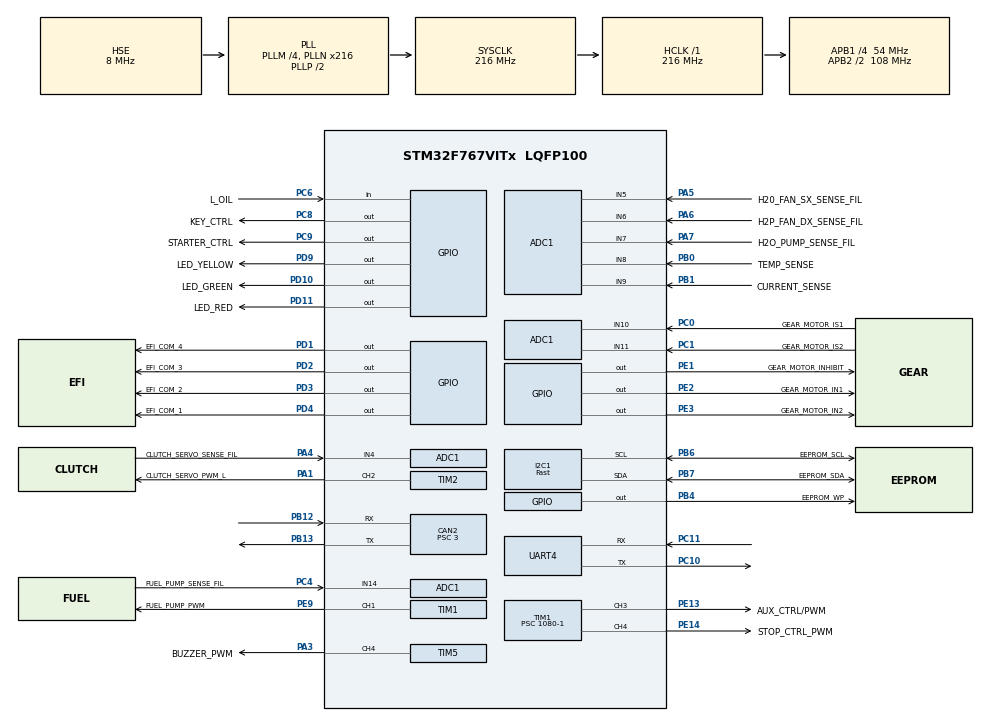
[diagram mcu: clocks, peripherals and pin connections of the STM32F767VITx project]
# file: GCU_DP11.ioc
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ADC1.Channel-10\#ChannelRegularConversion=ADC_CHANNEL_14
ADC1.Channel-2\#ChannelRegularConversion=ADC_CHANNEL_4
ADC1.Channel-3\#ChannelRegularConversion=ADC_CHANNEL_5
ADC1.Channel-4\#ChannelRegularConversion=ADC_CHANNEL_6
ADC1.Channel-5\#ChannelRegularConversion=ADC_CHANNEL_7
ADC1.Channel-6\#ChannelRegularConversion=ADC_CHANNEL_8
ADC1.Channel-7\#ChannelRegularConversion=ADC_CHANNEL_9
ADC1.Channel-8\#ChannelRegularConversion=ADC_CHANNEL_10
ADC1.Channel-9\#ChannelRegularConversion=ADC_CHANNEL_11
ADC1.ClockPrescaler=ADC_CLOCK_SYNC_PCLK_DIV8
ADC1.ContinuousConvMode=DISABLE
ADC1.DMAContinuousRequests=ENABLE
ADC1.EOCSelection=ADC_EOC_SEQ_CONV
ADC1.NbrOfConversion=9
ADC1.NbrOfConversionFlag=1
ADC1.Rank-10\#ChannelRegularConversion=9
ADC1.Rank-2\#ChannelRegularConversion=1
ADC1.Rank-3\#ChannelRegularConversion=2
ADC1.Rank-4\#ChannelRegularConversion=3
ADC1.Rank-5\#ChannelRegularConversion=4
ADC1.Rank-6\#ChannelRegularConversion=5
ADC1.Rank-7\#ChannelRegularConversion=6
ADC1.Rank-8\#ChannelRegularConversion=7
ADC1.Rank-9\#ChannelRegularConversion=8
ADC1.SamplingTime-10\#ChannelRegularConversion=ADC_SAMPLETIME_480CYCLES
ADC1.SamplingTime-2\#ChannelRegularConversion=ADC_SAMPLETIME_480CYCLES
ADC1.SamplingTime-3\#ChannelRegularConversion=ADC_SAMPLETIME_480CYCLES
ADC1.SamplingTime-4\#ChannelRegularConversion=ADC_SAMPLETIME_480CYCLES
ADC1.SamplingTime-5\#ChannelRegularConversion=ADC_SAMPLETIME_480CYCLES
ADC1.SamplingTime-6\#ChannelRegularConversion=ADC_SAMPLETIME_480CYCLES
ADC1.SamplingTime-7\#ChannelRegularConversion=ADC_SAMPLETIME_480CYCLES
ADC1.SamplingTime-8\#ChannelRegularConversion=ADC_SAMPLETIME_480CYCLES
ADC1.SamplingTime-9\#ChannelRegularConversion=ADC_SAMPLETIME_480CYCLES
ADC1.ScanConvMode=ENABLE
ADC1.master=1
CAN2.BS1=CAN_BS1_15TQ
CAN2.BS2=CAN_BS2_2TQ
CAN2.CalculateTimeQuantum=55.55555555555556
CAN2.Prescaler=3
Dma.ADC1.0.Direction=DMA_PERIPH_TO_MEMORY
Dma.ADC1.0.FIFOMode=DMA_FIFOMODE_DISABLE
Dma.ADC1.0.Instance=DMA2_Stream0
Dma.ADC1.0.MemDataAlignment=DMA_MDATAALIGN_WORD
Dma.ADC1.0.MemInc=DMA_MINC_ENABLE
Dma.ADC1.0.Mode=DMA_CIRCULAR
Dma.ADC1.0.PeriphDataAlignment=DMA_PDATAALIGN_WORD
Dma.ADC1.0.PeriphInc=DMA_PINC_DISABLE
Dma.ADC1.0.Priority=DMA_PRIORITY_LOW
Dma.Request0=ADC1
Dma.Request1=UART4_TX
Dma.UART4_TX.1.Direction=DMA_MEMORY_TO_PERIPH
Dma.UART4_TX.1.FIFOMode=DMA_FIFOMODE_DISABLE
Dma.UART4_TX.1.Instance=DMA1_Stream4
Dma.UART4_TX.1.MemDataAlignment=DMA_MDATAALIGN_BYTE
Dma.UART4_TX.1.MemInc=DMA_MINC_ENABLE
Dma.UART4_TX.1.Mode=DMA_NORMAL
Dma.UART4_TX.1.PeriphDataAlignment=DMA_PDATAALIGN_BYTE
Dma.UART4_TX.1.PeriphInc=DMA_PINC_DISABLE
Dma.UART4_TX.1.Priority=DMA_PRIORITY_LOW
I2C1.I2C_Speed_Mode=I2C_Fast
I2C1.Timing=0x6000030D
Mcu.Family=STM32F7
Mcu.Name=STM32F767VITx
Mcu.Package=LQFP100
NVIC.ADC_IRQn=true\:4\:0\:true\:false\:true\:true\:true
NVIC.CAN2_RX0_IRQn=true\:2\:0\:true\:false\:true\:true\:true
NVIC.CAN2_RX1_IRQn=true\:2\:0\:true\:false\:true\:true\:true
NVIC.CAN2_TX_IRQn=true\:1\:0\:true\:false\:true\:true\:true
NVIC.DMA1_Stream4_IRQn=true\:6\:0\:true\:false\:true\:false\:true
NVIC.DMA2_Stream0_IRQn=true\:4\:0\:true\:false\:true\:false\:true
NVIC.I2C1_EV_IRQn=true\:5\:0\:true\:false\:true\:true\:true
NVIC.PriorityGroup=NVIC_PRIORITYGROUP_4
NVIC.TIM6_DAC_IRQn=true\:3\:0\:true\:false\:true\:true\:true
NVIC.UART4_IRQn=true\:6\:0\:true\:false\:true\:true\:true
PA1.GPIO_Label=CLUTCH_SERVO_PWM_L
PA1.Signal=S_TIM2_CH2
PA13.GPIO_Label=SWDIO
PA13.Mode=Trace_Asynchronous_SW
PA13.Signal=SYS_JTMS-SWDIO
PA14.GPIO_Label=SWCLK
PA14.Mode=Trace_Asynchronous_SW
PA14.Signal=SYS_JTCK-SWCLK
PA3.GPIO_Label=BUZZER_PWM
PA3.Signal=S_TIM5_CH4
PA4.GPIO_Label=CLUTCH_SERVO_SENSE_FIL
PA4.Signal=ADCx_IN4
PA5.GPIO_Label=H20_FAN_SX_SENSE_FIL
PA5.Signal=ADCx_IN5
PA6.GPIO_Label=H2P_FAN_DX_SENSE_FIL
PA6.Signal=ADCx_IN6
PA7.GPIO_Label=H2O_PUMP_SENSE_FIL
PA7.Signal=ADCx_IN7
PB0.GPIO_Label=TEMP_SENSE
PB0.Signal=ADCx_IN8
PB1.GPIO_Label=CURRENT_SENSE
PB1.Signal=ADCx_IN9
PB12.Mode=Slave
PB12.Signal=CAN2_RX
PB13.Mode=Slave
PB13.Signal=CAN2_TX
PB3.GPIO_Label=SWO
PB3.Mode=Trace_Asynchronous_SW
PB3.Signal=SYS_JTDO-SWO
PB4.GPIO_Label=EEPROM_WP
PB4.Signal=GPIO_Output
PB6.GPIO_Label=EEPROM_SCL
PB6.Mode=I2C
PB6.Signal=I2C1_SCL
PB7.GPIO_Label=EEPROM_SDA
PB7.Mode=I2C
PB7.Signal=I2C1_SDA
PB8.GPIO_PuPd=GPIO_PULLUP
PB8.Signal=CAN1_RX
PB9.Signal=CAN1_TX
PC0.GPIO_Label=GEAR_MOTOR_IS1
PC0.Signal=ADCx_IN10
PC1.GPIO_Label=GEAR_MOTOR_IS2
PC1.Signal=ADCx_IN11
PC10.Mode=Asynchronous
PC10.Signal=UART4_TX
PC11.Mode=Asynchronous
PC11.Signal=UART4_RX
PC4.GPIO_Label=FUEL_PUMP_SENSE_FIL
PC4.Signal=ADCx_IN14
PC6.GPIO_Label=L_OIL
PC6.Signal=GPIO_Input
PC8.GPIO_Label=KEY_CTRL
PC8.Signal=GPIO_Output
PC9.GPIO_Label=STARTER_CTRL
PC9.Signal=GPIO_Output
PD1.GPIO_Label=EFI_COM_4
PD1.Signal=GPIO_Output
PD10.GPIO_Label=LED_GREEN
PD10.Signal=GPIO_Output
PD11.GPIO_Label=LED_RED
PD11.Signal=GPIO_Output
PD2.GPIO_Label=EFI_COM_3
PD2.Signal=GPIO_Output
PD3.GPIO_Label=EFI_COM_2
PD3.Signal=GPIO_Output
PD4.GPIO_Label=EFI_COM_1
PD4.Signal=GPIO_Output
PD9.GPIO_Label=LED_YELLOW
PD9.Signal=GPIO_Output
PE1.GPIO_Label=GEAR_MOTOR_INHIBIT
PE1.Signal=GPIO_Output
PE13.GPIO_Label=AUX_CTRL/PWM
PE13.Signal=S_TIM1_CH3
PE14.GPIO_Label=STOP_CTRL_PWM
PE14.Signal=S_TIM1_CH4
PE2.GPIO_Label=GEAR_MOTOR_IN1
PE2.Signal=GPIO_Output
PE3.GPIO_Label=GEAR_MOTOR_IN2
PE3.Signal=GPIO_Output
PE9.GPIO_Label=FUEL_PUMP_PWM
PE9.Signal=S_TIM1_CH1
PH0/OSC_IN.GPIO_Label=MCU_OSC_IN
PH0/OSC_IN.Mode=HSE-External-Oscillator
PH0/OSC_IN.Signal=RCC_OSC_IN
PH1/OSC_OUT.GPIO_Label=MCU_OSC_OUT
PH1/OSC_OUT.Mode=HSE-External-Oscillator
PH1/OSC_OUT.Signal=RCC_OSC_OUT
ProjectManager.HeapSize=0x200
ProjectManager.StackSize=0x400
ProjectManager.TargetToolchain=MDK-ARM V5
RCC.AHBFreq_Value=216000000
RCC.APB1CLKDivider=RCC_HCLK_DIV4
RCC.APB1Freq_Value=54000000
RCC.APB1TimFreq_Value=108000000
RCC.APB2CLKDivider=RCC_HCLK_DIV2
RCC.APB2Freq_Value=108000000
RCC.APB2TimFreq_Value=216000000
RCC.CortexFreq_Value=216000000
RCC.HCLKFreq_Value=216000000
RCC.HSE_VALUE=8000000
RCC.HSI_VALUE=16000000
RCC.LSE_VALUE=32768
RCC.PLLM=4
RCC.PLLN=216
RCC.PLLSourceVirtual=RCC_PLLSOURCE_HSE
RCC.SYSCLKFreq_VALUE=216000000
RCC.SYSCLKSource=RCC_SYSCLKSOURCE_PLLCLK
RCC.USART1CLockSelection=RCC_USART1CLKSOURCE_SYSCLK
RCC.USBFreq_Value=216000000
RCC.VCOOutputFreq_Value=432000000
SH.ADCx_IN10.0=ADC1_IN10,IN10
SH.ADCx_IN11.0=ADC1_IN11,IN11
SH.ADCx_IN14.0=ADC1_IN14,IN14
SH.ADCx_IN4.0=ADC1_IN4,IN4
SH.ADCx_IN5.0=ADC1_IN5,IN5
SH.ADCx_IN6.0=ADC1_IN6,IN6
SH.ADCx_IN7.0=ADC1_IN7,IN7
SH.ADCx_IN8.0=ADC1_IN8,IN8
SH.ADCx_IN9.0=ADC1_IN9,IN9
SH.S_TIM1_CH1.0=TIM1_CH1,PWM Generation1 CH1
SH.S_TIM1_CH3.0=TIM1_CH3,Output Compare3 CH3
SH.S_TIM1_CH4.0=TIM1_CH4,PWM Generation4 CH4
SH.S_TIM2_CH2.0=TIM2_CH2,PWM Generation2 CH2
SH.S_TIM5_CH4.0=TIM5_CH4,PWM Generation4 CH4
TIM1.Channel-Output\ Compare3\ CH3=TIM_CHANNEL_3
TIM1.Channel-PWM\ Generation1\ CH1=TIM_CHANNEL_1
TIM1.Channel-PWM\ Generation4\ CH4=TIM_CHANNEL_4
TIM1.Period=200-1
TIM1.Prescaler=1080-1
TIM2.Channel-PWM\ Generation2\ CH2=TIM_CHANNEL_2
TIM2.Period=2000-1
TIM2.Prescaler=1080-1
TIM5.Channel-PWM\ Generation4\ CH4=TIM_CHANNEL_4
TIM5.Period=200-1
TIM5.Prescaler=1080-1
TIM6.Period=108-1
TIM6.Prescaler=1000-1
VP_TIM6_VS_ClockSourceINT.Mode=Enable_Timer
board=custom

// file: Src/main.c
/* USER CODE BEGIN Header */
/**
  ******************************************************************************
  * @file           : main.c
  * @brief          : Main program body
  ******************************************************************************
  * @attention
  *
  * <h2><center>&copy; Copyright (c) 2019 STMicroelectronics.
  * All rights reserved.</center></h2>
  *
  * This software component is licensed by ST under BSD 3-Clause license,
  * the "License"; You may not use this file except in compliance with the
  * License. You may obtain a copy of the License at:
  *                        opensource.org/licenses/BSD-3-Clause
  *
  ******************************************************************************
  */
/* USER CODE END Header */

#include "main.h"
#include "adc.h"
#include "can.h"
#include "dma.h"
#include "gfxsimulator.h"
#include "i2c.h"
#include "tim.h"
#include "usart.h"
#include "gpio.h"

/* USER CODE BEGIN Includes */

/*Includere il codice generato.
	La chiamata delle funzioni step va fatta in can.c, tim.c, usart.c e adc.c dove indicato dai commenti*/
#include "GCU_Model_genCode.h"
#include "string.h"
/* USER CODE END Includes */

void SystemClock_Config(void);

/* USER CODE BEGIN 0 */
extern uint8_t rxData[];
uint8_t tempMsg[UART_SENT_DATA_WIDTH + 4];
uint8_t tempEepromUartMsg[UART_SENT_EEPROM_DATA_WIDTH+3];
uint8_t tempEepromMsg[I2C_SENT_EEPROM_DATA_WIDTH];
extern uint32_t adc_buffer[];
/* USER CODE END 0 */

int main(void)
{

  /* MCU Configuration--------------------------------------------------------*/

  /* Reset of all peripherals, Initializes the Flash interface and the Systick. */
  HAL_Init();

  /* Configure the system clock */
  SystemClock_Config();

  /* Initialize all configured peripherals */
  MX_GPIO_Init();
  MX_DMA_Init();
  MX_ADC1_Init();
  MX_CAN2_Init();
  MX_I2C1_Init();
  MX_TIM1_Init();
  MX_TIM2_Init();
  MX_UART4_Init();
  MX_TIM6_Init();
  MX_TIM5_Init();
  MX_GFXSIMULATOR_Init();
  /* USER CODE BEGIN 2 */
	/*
	HAL_TIM_Base_Start_IT(&htim2);
	HAL_UART_Receive_IT(&huart3, rxData, 1);
	HAL_ADC_Start_DMA(&hadc1, rtU.adc_buffer, ADC_DATA_SIZE);
	*/
	/*
	HAL_GPIO_WritePin(LED_1_GIALLO_GPIO_Port, LED_1_GIALLO_Pin, GPIO_PIN_SET);
	HAL_GPIO_WritePin(LED_2_GIALLO_GPIO_Port, LED_2_GIALLO_Pin, GPIO_PIN_SET);
	HAL_GPIO_WritePin(LED_3_GIALLO_GPIO_Port, LED_3_GIALLO_Pin, GPIO_PIN_SET);
	HAL_GPIO_WritePin(LED_4_GIALLO_GPIO_Port, LED_4_GIALLO_Pin, GPIO_PIN_SET);
	HAL_GPIO_WritePin(LED_5_ROSSO_GPIO_Port, LED_5_ROSSO_Pin, GPIO_PIN_SET);
	*/
	/*Qui bisogna inserire la funzione che inizializza il modello,
	lo step per l'interpretazione del messaggio (per entrare nel primo stato della macchina a stati
	ed essere pronto a ricevere) e va selezionata su rtU.SelectMode la periferica da cui leggere i messaggi*/
	GCU_Model_genCode_initialize();
	rtU.SelectMode = CAN_READ_MODE;
	GCU_Model_genCode_step2();
	GCU_Model_genCode_step6();

	uint32_t ESR_reg=0;
	uint32_t TEC_reg=0;
	uint32_t REC_reg=0;
  /* USER CODE END 2 */

  /* Infinite loop */
  while (1)
  {

    /* USER CODE BEGIN 3 */
		ESR_reg = hcan2.Instance->ESR;
		TEC_reg = ESR_reg & 0x00FF0000;
		REC_reg = ESR_reg & 0xFF000000;

		if(TEC_reg >= 0x00F00000)
		{
			//activateBuzzer_Outputs_wrapper();
			CAN_Restart_Outputs_wrapper();
		}
		else if(REC_reg >= 0xF0000000)
		{
			//activateBuzzer_Outputs_wrapper();
			//CAN_Restart_Outputs_wrapper();
		}
		else
		{
			//stopBuzzer_Outputs_wrapper();
		}
		//activateBuzzer_Outputs_wrapper();
		//CAN1_Send_Nucleo_F7_Packet();
		//HAL_Delay(500);
		if(rtU.SelectMode == DEMO_READ_MODE)
		{
			GCU_Model_genCode_step2();
			HAL_Delay(100);
		}
  }
  /* USER CODE END 3 */
}

void SystemClock_Config(void)
{
  RCC_OscInitTypeDef RCC_OscInitStruct = {0};
  RCC_ClkInitTypeDef RCC_ClkInitStruct = {0};
  RCC_PeriphCLKInitTypeDef PeriphClkInitStruct = {0};

  /** Configure the main internal regulator output voltage
  */
  __HAL_RCC_PWR_CLK_ENABLE();
  __HAL_PWR_VOLTAGESCALING_CONFIG(PWR_REGULATOR_VOLTAGE_SCALE1);
  /** Initializes the CPU, AHB and APB busses clocks
  */
  RCC_OscInitStruct.OscillatorType = RCC_OSCILLATORTYPE_HSE;
  RCC_OscInitStruct.HSEState = RCC_HSE_ON;
  RCC_OscInitStruct.PLL.PLLState = RCC_PLL_ON;
  RCC_OscInitStruct.PLL.PLLSource = RCC_PLLSOURCE_HSE;
  RCC_OscInitStruct.PLL.PLLM = 4;
  RCC_OscInitStruct.PLL.PLLN = 216;
  RCC_OscInitStruct.PLL.PLLP = RCC_PLLP_DIV2;
  RCC_OscInitStruct.PLL.PLLQ = 2;
  if (HAL_RCC_OscConfig(&RCC_OscInitStruct) != HAL_OK)
  {
    Error_Handler();
  }
  /** Activate the Over-Drive mode
  */
  if (HAL_PWREx_EnableOverDrive() != HAL_OK)
  {
    Error_Handler();
  }
  /** Initializes the CPU, AHB and APB busses clocks
  */
  RCC_ClkInitStruct.ClockType = RCC_CLOCKTYPE_HCLK|RCC_CLOCKTYPE_SYSCLK
                              |RCC_CLOCKTYPE_PCLK1|RCC_CLOCKTYPE_PCLK2;
  RCC_ClkInitStruct.SYSCLKSource = RCC_SYSCLKSOURCE_PLLCLK;
  RCC_ClkInitStruct.AHBCLKDivider = RCC_SYSCLK_DIV1;
  RCC_ClkInitStruct.APB1CLKDivider = RCC_HCLK_DIV4;
  RCC_ClkInitStruct.APB2CLKDivider = RCC_HCLK_DIV2;

  if (HAL_RCC_ClockConfig(&RCC_ClkInitStruct, FLASH_LATENCY_7) != HAL_OK)
  {
    Error_Handler();
  }
  PeriphClkInitStruct.PeriphClockSelection = RCC_PERIPHCLK_UART4|RCC_PERIPHCLK_I2C1;
  PeriphClkInitStruct.Uart4ClockSelection = RCC_UART4CLKSOURCE_PCLK1;
  PeriphClkInitStruct.I2c1ClockSelection = RCC_I2C1CLKSOURCE_PCLK1;
  if (HAL_RCCEx_PeriphCLKConfig(&PeriphClkInitStruct) != HAL_OK)
  {
    Error_Handler();
  }
}

void Error_Handler(void)
{
}

/************************ (C) COPYRIGHT STMicroelectronics *****END OF FILE****/
